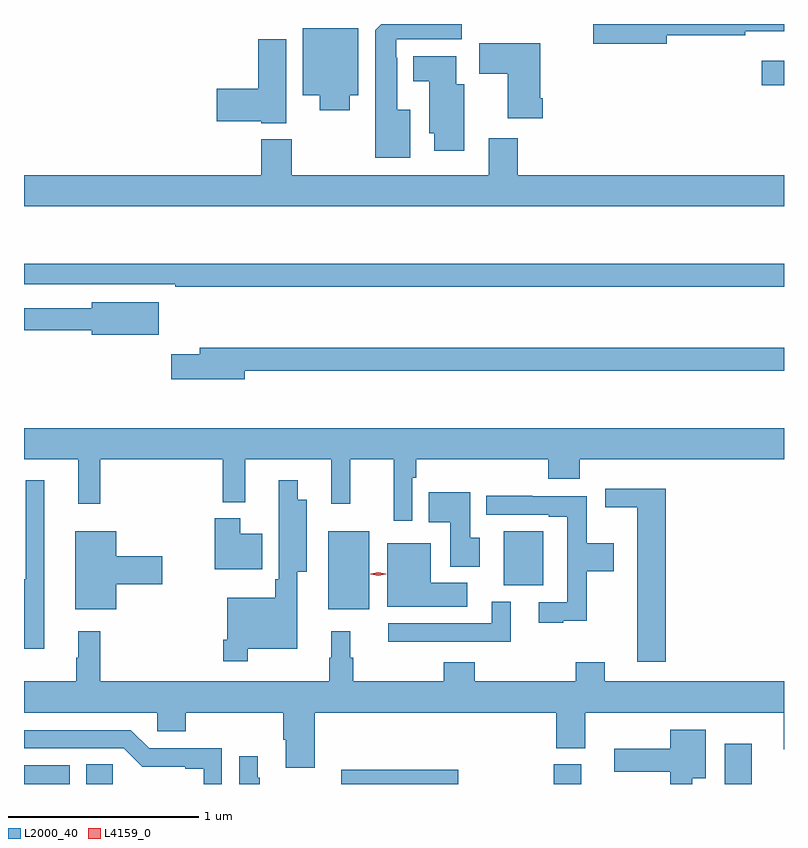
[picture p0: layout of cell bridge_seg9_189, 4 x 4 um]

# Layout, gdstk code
import gdstk
lib = gdstk.Library(unit=1e-6, precision=1e-09)
def R(c, l, rs):  # rectangles x0, y0, x1, y1
    for r in rs: c.add(gdstk.rectangle(r[:2], r[2:], *l))
def P(c, l, *ps):  # polygons
    for p in ps: c.add(gdstk.Polygon(p, *l))
L2000_40 = (2000, 40)
L4159_0 = (4159, 0)

bridge_seg9_189 = lib.new_cell('bridge_seg9_189')
R(bridge_seg9_189, L2000_40, [(213.623,1217.356,213.865,1217.455), (213.95,1217.356,214.089,1217.459), (215.293,1217.356,215.909,1217.431), (216.41,1217.356,216.556,1217.46), (217.31,1217.356,217.453,1217.569), (215.225,1218.275,215.44,1218.685), (216.149,1218.401,216.355,1218.685), (217.506,1221.034,217.623,1221.163)])
P(bridge_seg9_189, L2000_40, [(215.656,1220.905),(215.587,1220.905),(215.587,1221.179),(215.583,1221.179),(215.583,1221.276),(215.927,1221.276),(215.927,1221.356),(215.504,1221.356),(215.471,1221.323),(215.471,1220.651),(215.656,1220.651)],
  [(217.006,1221.298),(217.418,1221.298),(217.418,1221.318),(217.623,1221.318),(217.623,1221.356),(216.618,1221.356),(216.618,1221.251),(217.006,1221.251)],
  [(215.338,1220.981),(215.383,1220.981),(215.383,1221.334),(215.09,1221.334),(215.09,1220.981),(215.18,1220.981),(215.18,1220.903),(215.338,1220.903)],
  [(215.002,1221.277),(214.856,1221.277),(214.856,1221.014),(214.638,1221.014),(214.638,1220.843),(214.872,1220.843),(214.872,1220.834),(215.002,1220.834)],
  [(216.353,1220.965),(216.34,1220.965),(216.34,1221.256),(216.018,1221.256),(216.018,1221.094),(216.17,1221.094),(216.17,1220.861),(216.353,1220.861)],
  [(215.941,1221.04),(215.899,1221.04),(215.899,1221.187),(215.672,1221.187),(215.672,1221.056),(215.756,1221.056),(215.756,1220.781),(215.783,1220.781),(215.783,1220.688),(215.941,1220.688)],
  [(217.623,1220.56),(216.221,1220.56),(216.221,1220.755),(216.068,1220.755),(216.068,1220.56),(215.031,1220.56),(215.031,1220.749),(214.871,1220.749),(214.871,1220.56),(213.623,1220.56),(213.623,1220.396),(217.623,1220.396)],
  [(217.623,1220.095),(213.623,1220.095),(213.623,1219.986),(214.42,1219.986),(214.42,1219.974),(217.623,1219.974)],
  [(214.333,1219.891),(213.98,1219.891),(213.98,1219.86),(213.623,1219.86),(213.623,1219.744),(213.98,1219.744),(213.98,1219.721),(214.333,1219.721)],
  [(214.786,1219.53),(217.623,1219.53),(217.623,1219.651),(214.547,1219.651),(214.547,1219.617),(214.398,1219.617),(214.398,1219.487),(214.786,1219.487)],
  [(215.667,1218.968),(215.687,1218.968),(215.687,1219.064),(216.383,1219.064),(216.383,1218.962),(216.548,1218.962),(216.548,1219.064),(217.623,1219.064),(217.623,1219.228),(213.623,1219.228),(213.623,1219.064),(213.908,1219.064),(213.908,1218.831),(214.025,1218.831),(214.025,1219.064),(214.669,1219.064),(214.669,1218.839),(214.787,1218.839),(214.787,1219.064),(215.24,1219.064),(215.24,1218.831),(215.34,1218.831),(215.34,1219.064),(215.569,1219.064),(215.569,1218.741),(215.667,1218.741)],
  [(214.801,1218.068),(215.062,1218.068),(215.062,1218.473),(215.11,1218.473),(215.11,1218.853),(215.063,1218.853),(215.063,1218.955),(214.965,1218.955),(214.965,1218.433),(214.945,1218.433),(214.945,1218.337),(214.692,1218.337),(214.692,1218.115),(214.672,1218.115),(214.672,1218.003),(214.801,1218.003)],
  [(213.73,1218.955),(213.633,1218.955),(213.633,1218.433),(213.623,1218.433),(213.623,1218.068),(213.73,1218.068)],
  [(217.001,1218.91),(216.681,1218.91),(216.681,1218.812),(216.851,1218.812),(216.851,1218),(217.001,1218)],
  [(216.022,1218.651),(215.971,1218.651),(215.971,1218.892),(215.752,1218.892),(215.752,1218.734),(215.867,1218.734),(215.867,1218.5),(216.022,1218.5)],
  [(216.461,1218.215),(216.584,1218.215),(216.584,1218.475),(216.727,1218.475),(216.727,1218.622),(216.584,1218.622),(216.584,1218.87),(216.299,1218.87),(216.299,1218.872),(216.057,1218.872),(216.057,1218.774),(216.386,1218.774),(216.386,1218.762),(216.483,1218.762),(216.483,1218.312),(216.333,1218.312),(216.333,1218.204),(216.461,1218.204)],
  [(214.876,1218.673),(214.762,1218.673),(214.762,1218.754),(214.628,1218.754),(214.628,1218.485),(214.876,1218.485)],
  [(214.108,1218.407),(214.351,1218.407),(214.351,1218.554),(214.108,1218.554),(214.108,1218.685),(213.893,1218.685),(213.893,1218.275),(214.108,1218.275)],
  [(215.956,1218.415),(215.764,1218.415),(215.764,1218.622),(215.534,1218.622),(215.534,1218.29),(215.956,1218.29)],
  [(216.184,1218.316),(216.086,1218.316),(216.086,1218.201),(215.541,1218.201),(215.541,1218.105),(216.184,1218.105)],
  [(215.153,1217.732),(216.425,1217.732),(216.425,1217.545),(216.577,1217.545),(216.577,1217.732),(217.622,1217.732),(217.622,1217.538),(217.623,1217.538),(217.623,1217.896),(216.679,1217.896),(216.679,1217.998),(216.527,1217.998),(216.527,1217.896),(215.996,1217.896),(215.996,1217.998),(215.831,1217.998),(215.831,1217.896),(215.357,1217.896),(215.357,1218.02),(215.339,1218.02),(215.339,1218.16),(215.24,1218.16),(215.24,1218.02),(215.229,1218.02),(215.229,1217.896),(214.025,1217.896),(214.025,1218.16),(213.908,1218.16),(213.908,1218.02),(213.897,1218.02),(213.897,1217.896),(213.623,1217.896),(213.623,1217.732),(214.323,1217.732),(214.323,1217.634),(214.475,1217.634),(214.475,1217.732),(214.988,1217.732),(214.988,1217.59),(215,1217.59),(215,1217.442),(215.153,1217.442)],
  [(217.141,1217.387),(217.21,1217.387),(217.21,1217.641),(217.025,1217.641),(217.025,1217.542),(216.729,1217.542),(216.729,1217.42),(217.025,1217.42),(217.025,1217.356),(217.141,1217.356)],
  [(214.665,1217.544),(214.281,1217.544),(214.185,1217.64),(213.623,1217.64),(213.623,1217.544),(214.149,1217.544),(214.245,1217.448),(214.472,1217.448),(214.472,1217.436),(214.568,1217.436),(214.568,1217.356),(214.665,1217.356)],
  [(214.864,1217.39),(214.852,1217.39),(214.852,1217.503),(214.755,1217.503),(214.755,1217.356),(214.864,1217.356)])
P(bridge_seg9_189, L4159_0, [(215.487,1218.451),(215.447,1218.461),(215.446,1218.461),(215.447,1218.462),(215.487,1218.471),(215.528,1218.462),(215.528,1218.461),(215.528,1218.461)])

lib.write_gds('bridge_seg9_189.gds')
